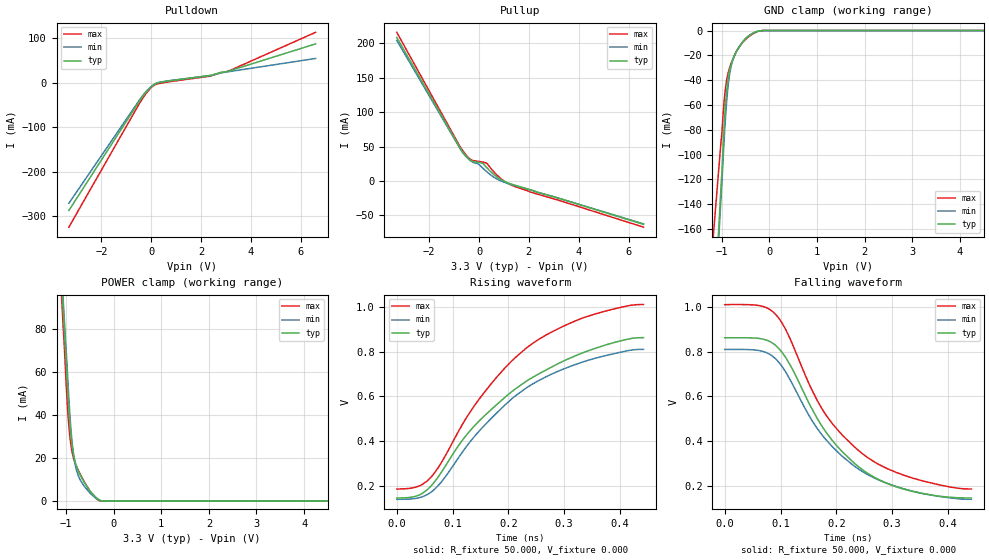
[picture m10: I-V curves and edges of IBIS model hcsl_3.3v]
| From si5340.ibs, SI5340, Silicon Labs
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[Model]   hcsl_3.3v
Model_type 3-state
Vref=0.000E+00
Rref=5.000E+01
Cref=0.000E+00
Vmeas=5.000E-01
C_comp   1.210E-12   1.190E-12   1.240E-12
[Voltage Range]   3.300E+00   3.135E+00   3.465E+00
[POWER Clamp Reference]   3.300E+00   3.135E+00   3.465E+00
[GND Clamp Reference]   0.000E+00   0.000E+00   0.000E+00
[Pullup Reference]   3.300E+00   3.135E+00   3.465E+00
[Pulldown Reference]   0.000E+00   0.000E+00   0.000E+00
[Temperature Range]   25   85   -40
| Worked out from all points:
|   slope of the pulldown table from 0 to 0.495 V, typ, clamps not added: 42.5 ohm
|   slope of the pullup table from 0 to 0.495 V, typ, clamps not added: 34.6 ohm
|   GND clamp passes 1 mA (typ) near -0.28 V on its own axis
|   POWER clamp passes 1 mA (typ) near -0.33 V on its own axis
|   rising waveform, R_fixture 50.000, V_fixture 0.000: 20-80 % time 181ps typ, 162ps min, 158ps max; typ from 0.145 V to 0.862 V
|   falling waveform, R_fixture 50.000, V_fixture 0.000: 20-80 % time 116ps typ, 124ps min, 124ps max; typ from 0.862 V to 0.145 V
[GND Clamp]
-3.3V     -1.762A    -1.716A    -1.162A
-1.02V    -127.1mA   -136mA     -90.36mA
-1V       -114.7mA   -123.1mA   -82.7mA
-960mV    -82.07mA   -93.43mA   -60.37mA
-920mV    -57.49mA   -67.81mA   -45.17mA
-900mV    -48.65mA   -57.37mA   -40.02mA
-860mV    -36.51mA   -41.59mA   -32.89mA
-800mV    -26.64mA   -27.84mA   -25.93mA
-700mV    -17.41mA   -17.14mA   -17.36mA
-560mV    -9.107mA   -8.921mA   -9.418mA
-260mV    -698.8uA   -722.7uA   -934.2uA
6.6V      0A         0A         0A
[Power Clamp]
-3.3V     952.7mA    941.2mA    1.006A
-1.06V    89.34mA    93.49mA    80.96mA
-980mV    58.28mA    63.75mA    47.25mA
-940mV    42.53mA    47.47mA    34.54mA
-920mV    36.26mA    40.34mA    29.97mA
-880mV    27.19mA    28.97mA    23.6mA
-820mV    19.25mA    18.34mA    18.35mA
-740mV    13.87mA    11.63mA    14.18mA
-640mV    9.517mA    7.569mA    9.913mA
-480mV    4.238mA    3.382mA    4.07mA
-320mV    849.9uA    659uA      438uA
6.6V      0A         0A         0A
[Pullup]
-3.3V     208.6mA    204.3mA    216mA
-780mV    49.3mA     48.3mA     51.09mA
-620mV    40.53mA    39.66mA    42.49mA
-360mV    30.75mA    30.03mA    31.82mA
-220mV    28.08mA    26.82mA    29.58mA
47.68nV   26.95mA    24.05mA    28.34mA
160mV     25.3mA     18.4mA     27.39mA
300mV     19.82mA    13.75mA    25.92mA
640mV     7.994mA    4.497mA    11.54mA
900mV     1.627mA    -235.8uA   2.703mA
1.46V     -6.387mA   -6.888mA   -8.338mA
6.6V      -63.02mA   -62.32mA   -67.07mA
[Pulldown]
-3.3V     -286.7mA   -270.6mA   -324.2mA
-480mV    -41.7mA    -39.36mA   -47.32mA
-240mV    -23.32mA   -21.9mA    -26.67mA
-60mV     -12.13mA   -11.37mA   -14.23mA
80mV      -5.272mA   -4.863mA   -6.954mA
220mV     -897.3uA   -623.3uA   -2.965mA
440mV     2.198mA    2.472mA    -134.6uA
2.3V      16.14mA    16.06mA    14.56mA
3.08V     26.1mA     24.94mA    26.23mA
6.6V      87.73mA    54.9mA     113.7mA
[Rising Waveform]
R_fixture = 50.000
V_fixture = 0.000
V_fixture_min = 0.000
V_fixture_max = 0.000
|  time   V(typ)   V(min)   V(max)
0s        144.6mV    138.5mV    184.7mV
36ps      154mV      143.7mV    194.6mV
60ps      194.8mV    168.3mV    234.2mV
80ps      260mV      216.8mV    303.4mV
118ps     404.7mV    351.5mV    475.9mV
148ps     490.2mV    445.3mV    588.7mV
194ps     595.6mV    561.3mV    727.3mV
236ps     673.6mV    643.6mV    823.2mV
334ps     795.2mV    754mV      951.2mV
442ps     862.5mV    810.1mV    1.011V
[Falling Waveform]
R_fixture = 50.000
V_fixture = 0.000
V_fixture_min = 0.000
V_fixture_max = 0.000
|  time   V(typ)   V(min)   V(max)
0s        862.5mV    810.1mV    1.011V
64ps      858.7mV    804mV      1.006V
92ps      826.5mV    766.2mV    965.2mV
118ps     737.3mV    670.9mV    853.6mV
152ps     564.9mV    509.9mV    651.3mV
176ps     459.7mV    422mV      537.4mV
210ps     353.5mV    332.9mV    428.5mV
250ps     265.5mV    258.2mV    336.9mV
332ps     176.9mV    177.9mV    237.6mV
442ps     144.6mV    138.5mV    184.7mV
[Ramp]
dV/dt_r   5.1759E-01/1.8088E-10   4.8666E-01/1.6199E-10   6.0524E-01/1.5806E-10
dV/dt_f   5.1759E-01/1.1610E-10   4.8666E-01/1.2370E-10   6.0524E-01/1.1240E-10
R_load = 50
